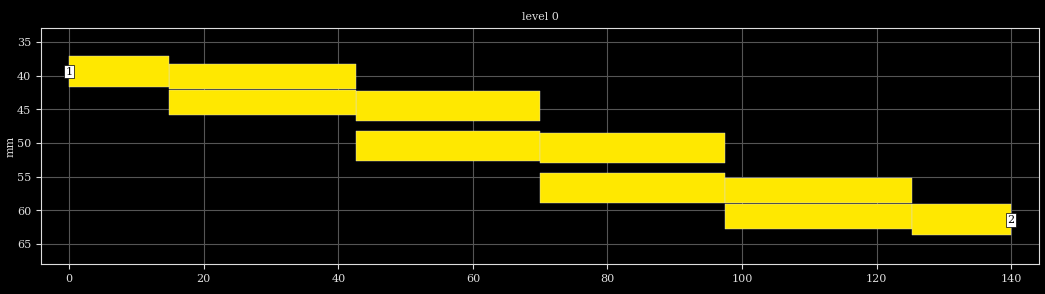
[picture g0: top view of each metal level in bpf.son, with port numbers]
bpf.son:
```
FTYP SONPROJ 13 ! Sonnet Project File
VER 15.53.lite
HEADER
LIC SL287748.103150 001c42b2201b ANTHONYBUGA3AE4 anthonybugatto
DAT 04/27/2018 17:24:47
BUILT_BY_CREATED xgeom 15.53-Lite 04/27/2018 14:31:00
BUILT_BY_SAVED xgeom 15.53-Lite
MDATE 04/27/2018 17:24:47
HDATE 04/27/2018 17:24:47
END HEADER
DIM
FREQ GHZ
IND NH
LNG MM
ANG DEG
CON /OH
CAP PF
RES OH
END DIM
FREQ
ABS 1.5 2.5 
END FREQ
CONTROL
ABS
OPTIONS  -dj 
SPEED 0
CACHE_ABS 1
TARG_ABS 300
Q_ACC N
END CONTROL
GEO
TMET "Free Space" 0 FREESPACE 376.7303136 0 0 0
BMET "Lossless" 0 SUP 0 0 0 0
BOX 1 140 100 1400 744 20 0
      1000 1 1 0 0 0 0 "Air"
      1.5 2.2 1 0.0009 0 0 0 "Rogers RT5880"
LORGN 0 100 U 
POR1 STD
POLY 1050 1
3
1 50 0 0 0 -2.54881978e-007 39.40765669 
POR1 STD
POLY 1051 1
1
2 50 0 0 0 140.0000001 61.45066744 
NUM 10
0 5 -1 N 1019 1 1 100 100 0 0 0 Y
42.59999888 46.77419803
70.01319888 46.77419803
70.01319888 42.30001803
42.59999888 42.30001803
42.59999888 46.77419803
END
0 5 -1 N 1020 1 1 100 100 0 0 0 Y
42.59999888 52.76441803
70.01319888 52.76441803
70.01319888 48.29023803
42.59999888 48.29023803
42.59999888 52.76441803
END
0 5 -1 N 1021 1 1 100 100 0 0 0 Y
69.99999888 52.95699373
97.41319888 52.95699373
97.41319888 48.48281373
69.99999888 48.48281373
69.99999888 52.95699373
END
0 5 -1 N 1022 1 1 100 100 0 0 0 Y
69.99999888 58.94721373
97.41319888 58.94721373
97.41319888 54.47303373
69.99999888 54.47303373
69.99999888 58.94721373
END
0 5 -1 N 1033 1 1 100 100 0 0 0 Y
14.8 41.93548288
42.6058 41.93548288
42.6058 38.27166288
14.8 38.27166288
14.8 41.93548288
END
0 5 -1 N 1034 1 1 100 100 0 0 0 Y
14.8 45.86846788
42.6058 45.86846788
42.6058 42.20464788
14.8 42.20464788
14.8 45.86846788
END
0 5 -1 N 1035 1 1 100 100 0 0 0 Y
97.4 58.87096675
125.2058 58.87096675
125.2058 55.20714675
97.4 55.20714675
97.4 58.87096675
END
0 5 -1 N 1036 1 1 100 100 0 0 0 Y
97.4 62.80395175
125.2058 62.80395175
125.2058 59.14013175
97.4 59.14013175
97.4 62.80395175
END
0 5 -1 N 1050 1 1 100 100 0 0 0 Y
-2.54881978e-007 37.09677669
14.80000011 37.09677669
14.80000011 41.71853669
-2.54881978e-007 41.71853669
-2.54881978e-007 37.09677669
END
0 5 -1 N 1051 1 1 100 100 0 0 0 Y
125.1999997 59.13978744
140.0000001 59.13978744
140.0000001 63.76154744
125.1999997 63.76154744
125.1999997 59.13978744
END
END GEO
OPT
MAX 100
VARS
END
END OPT
VARSWP
END VARSWP
QSG
IMPORT NO
EXTRA_METAL NO
UNITS NO
ALIGN NO
REF NO
VIEW_RES NO
METALS NO
USED NO
END QSG
```
